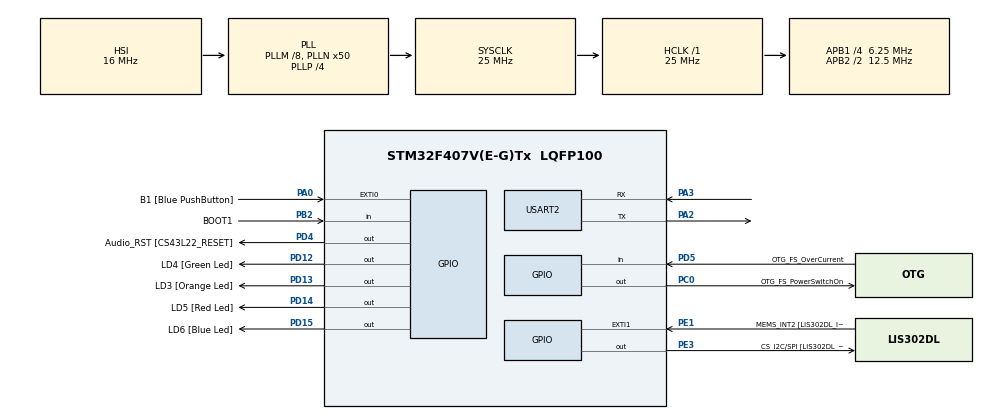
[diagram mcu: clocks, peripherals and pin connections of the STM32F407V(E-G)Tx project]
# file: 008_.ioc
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Mcu.Family=STM32F4
Mcu.Name=STM32F407V(E-G)Tx
Mcu.Package=LQFP100
NVIC.PriorityGroup=NVIC_PRIORITYGROUP_4
NVIC.TIM6_DAC_IRQn=true\:15\:0\:false\:false\:true\:false\:true\:true
NVIC.TimeBase=TIM6_DAC_IRQn
NVIC.TimeBaseIP=TIM6
NVIC.USART2_IRQn=true\:6\:0\:true\:false\:true\:true\:true\:true
PA0-WKUP.GPIO_Label=B1 [Blue PushButton]
PA0-WKUP.Signal=GPXTI0
PA10.GPIO_Label=OTG_FS_ID
PA10.GPIO_Mode=GPIO_MODE_AF_PP
PA10.GPIO_PuPd=GPIO_NOPULL
PA10.GPIO_Speed=GPIO_SPEED_FREQ_LOW
PA10.Signal=USB_OTG_FS_ID
PA11.GPIO_Label=OTG_FS_DM
PA11.GPIO_Mode=GPIO_MODE_AF_PP
PA11.GPIO_PuPd=GPIO_NOPULL
PA11.GPIO_Speed=GPIO_SPEED_FREQ_LOW
PA11.Signal=USB_OTG_FS_DM
PA12.GPIO_Label=OTG_FS_DP
PA12.GPIO_Mode=GPIO_MODE_AF_PP
PA12.GPIO_PuPd=GPIO_NOPULL
PA12.GPIO_Speed=GPIO_SPEED_FREQ_LOW
PA12.Signal=USB_OTG_FS_DP
PA13.GPIO_Label=SWDIO
PA13.Signal=SYS_JTMS-SWDIO
PA14.GPIO_Label=SWCLK
PA14.Signal=SYS_JTCK-SWCLK
PA2.Mode=Asynchronous
PA2.Signal=USART2_TX
PA3.Mode=Asynchronous
PA3.Signal=USART2_RX
PA4.GPIO_Label=I2S3_WS [CS43L22_LRCK]
PA4.GPIO_Mode=GPIO_MODE_AF_PP
PA4.GPIO_PuPd=GPIO_NOPULL
PA4.GPIO_Speed=GPIO_SPEED_FREQ_LOW
PA4.Signal=I2S3_WS
PA5.GPIO_Label=SPI1_SCK [LIS302DL_SCL/SPC]
PA5.GPIO_Mode=GPIO_MODE_AF_PP
PA5.GPIO_PuPd=GPIO_NOPULL
PA5.GPIO_Speed=GPIO_SPEED_FREQ_LOW
PA5.Signal=SPI1_SCK
PA6.GPIO_Label=SPI1_MISO [LIS302DL_SDO]
PA6.GPIO_Mode=GPIO_MODE_AF_PP
PA6.GPIO_PuPd=GPIO_NOPULL
PA6.GPIO_Speed=GPIO_SPEED_FREQ_LOW
PA6.Signal=SPI1_MISO
PA7.GPIO_Label=SPI1_MOSI [LIS302DL_SDA/SDI/SDO]
PA7.GPIO_Mode=GPIO_MODE_AF_PP
PA7.GPIO_PuPd=GPIO_NOPULL
PA7.GPIO_Speed=GPIO_SPEED_FREQ_LOW
PA7.Signal=SPI1_MOSI
PA9.GPIO_Label=VBUS_FS
PA9.GPIO_Mode=GPIO_MODE_INPUT
PA9.GPIO_PuPd=GPIO_NOPULL
PA9.Signal=USB_OTG_FS_VBUS
PB10.GPIO_Label=CLK_IN [MP45DT02_CLK]
PB10.GPIO_Mode=GPIO_MODE_AF_PP
PB10.GPIO_PuPd=GPIO_NOPULL
PB10.GPIO_Speed=GPIO_SPEED_FREQ_LOW
PB10.Signal=I2S2_CK
PB2.GPIO_Label=BOOT1
PB2.GPIO_Mode=GPIO_MODE_INPUT
PB2.GPIO_PuPd=GPIO_NOPULL
PB2.Signal=GPIO_Input
PB3.GPIO_Label=SWO
PB3.Signal=SYS_JTDO-SWO
PB6.GPIO_Label=Audio_SCL [CS43L22_SCL]
PB6.GPIO_Mode=GPIO_MODE_AF_OD
PB6.GPIO_PuPd=GPIO_NOPULL
PB6.GPIO_Speed=GPIO_SPEED_FREQ_LOW
PB6.Signal=I2C1_SCL
PB9.GPIO_Label=Audio_SDA [CS43L22_SDA]
PB9.GPIO_Mode=GPIO_MODE_AF_OD
PB9.GPIO_PuPd=GPIO_NOPULL
PB9.GPIO_Speed=GPIO_SPEED_FREQ_LOW
PB9.Signal=I2C1_SDA
PC0.GPIO_Label=OTG_FS_PowerSwitchOn
PC0.GPIO_PuPd=GPIO_NOPULL
PC0.GPIO_Speed=GPIO_SPEED_FREQ_LOW
PC0.PinState=GPIO_PIN_SET
PC0.Signal=GPIO_Output
PC10.GPIO_Label=I2S3_SCK [CS43L22_SCLK]
PC10.GPIO_Mode=GPIO_MODE_AF_PP
PC10.GPIO_PuPd=GPIO_NOPULL
PC10.GPIO_Speed=GPIO_SPEED_FREQ_LOW
PC10.Signal=I2S3_CK
PC12.GPIO_Label=I2S3_SD [CS43L22_SDIN]
PC12.GPIO_Mode=GPIO_MODE_AF_PP
PC12.GPIO_PuPd=GPIO_NOPULL
PC12.GPIO_Speed=GPIO_SPEED_FREQ_LOW
PC12.Signal=I2S3_SD
PC14-OSC32_IN.GPIO_Label=PC14-OSC32_IN
PC14-OSC32_IN.Signal=RCC_OSC32_IN
PC15-OSC32_OUT.GPIO_Label=PC15-OSC32_OUT
PC15-OSC32_OUT.Signal=RCC_OSC32_OUT
PC3.GPIO_Label=PDM_OUT [MP45DT02_DOUT]
PC3.GPIO_Mode=GPIO_MODE_AF_PP
PC3.GPIO_PuPd=GPIO_NOPULL
PC3.GPIO_Speed=GPIO_SPEED_FREQ_LOW
PC3.Signal=I2S2_SD
PC7.GPIO_Label=I2S3_MCK [CS43L22_MCLK]
PC7.GPIO_Mode=GPIO_MODE_AF_PP
PC7.GPIO_PuPd=GPIO_NOPULL
PC7.GPIO_Speed=GPIO_SPEED_FREQ_LOW
PC7.Signal=I2S3_MCK
PD12.GPIO_Label=LD4 [Green Led]
PD12.GPIO_PuPd=GPIO_NOPULL
PD12.GPIO_Speed=GPIO_SPEED_FREQ_LOW
PD12.Signal=GPIO_Output
PD13.GPIO_Label=LD3 [Orange Led]
PD13.GPIO_PuPd=GPIO_NOPULL
PD13.GPIO_Speed=GPIO_SPEED_FREQ_LOW
PD13.Signal=GPIO_Output
PD14.GPIO_Label=LD5 [Red Led]
PD14.GPIO_PuPd=GPIO_NOPULL
PD14.GPIO_Speed=GPIO_SPEED_FREQ_LOW
PD14.Signal=GPIO_Output
PD15.GPIO_Label=LD6 [Blue Led]
PD15.GPIO_PuPd=GPIO_NOPULL
PD15.GPIO_Speed=GPIO_SPEED_FREQ_LOW
PD15.Signal=GPIO_Output
PD4.GPIO_Label=Audio_RST [CS43L22_RESET]
PD4.GPIO_PuPd=GPIO_NOPULL
PD4.GPIO_Speed=GPIO_SPEED_FREQ_LOW
PD4.Signal=GPIO_Output
PD5.GPIO_Label=OTG_FS_OverCurrent
PD5.GPIO_Mode=GPIO_MODE_INPUT
PD5.GPIO_PuPd=GPIO_NOPULL
PD5.Signal=GPIO_Input
PE1.GPIO_Label=MEMS_INT2 [LIS302DL_INT2]
PE1.GPIO_ModeDefaultEXTI=GPIO_MODE_EVT_RISING
PE1.GPIO_PuPd=GPIO_NOPULL
PE1.Signal=GPXTI1
PE3.GPIO_Label=CS_I2C/SPI [LIS302DL_CS_I2C/SPI]
PE3.GPIO_PuPd=GPIO_NOPULL
PE3.GPIO_Speed=GPIO_SPEED_FREQ_LOW
PE3.Signal=GPIO_Output
PH0-OSC_IN.GPIO_Label=PH0-OSC_IN
PH0-OSC_IN.Signal=RCC_OSC_IN
PH1-OSC_OUT.GPIO_Label=PH1-OSC_OUT
PH1-OSC_OUT.Signal=RCC_OSC_OUT
ProjectManager.HeapSize=0x200
ProjectManager.StackSize=0x400
ProjectManager.TargetToolchain=STM32CubeIDE
RCC.48MHZClocksFreq_Value=14285714.285714285
RCC.AHBFreq_Value=25000000
RCC.APB1CLKDivider=RCC_HCLK_DIV4
RCC.APB1Freq_Value=6250000
RCC.APB1TimFreq_Value=12500000
RCC.APB2CLKDivider=RCC_HCLK_DIV2
RCC.APB2Freq_Value=12500000
RCC.APB2TimFreq_Value=25000000
RCC.CortexFreq_Value=25000000
RCC.HCLKFreq_Value=25000000
RCC.HSE_VALUE=8000000
RCC.HSI_VALUE=16000000
RCC.LSE_VALUE=32768
RCC.PLLM=8
RCC.PLLN=50
RCC.PLLP=RCC_PLLP_DIV4
RCC.PLLQ=7
RCC.SYSCLKFreq_VALUE=25000000
RCC.SYSCLKSource=RCC_SYSCLKSOURCE_PLLCLK
RCC.VCOOutputFreq_Value=100000000
RTC.HourFormat=RTC_HOURFORMAT_12
USART2.VirtualMode=VM_ASYNC
VP_RTC_VS_RTC_Activate.Mode=RTC_Enabled
VP_SYS_VS_tim6.Mode=TIM6
board=STM32F407G-DISC1

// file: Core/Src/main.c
/* USER CODE BEGIN Header */
/**
  ******************************************************************************
  * @file           : main.c
  * @brief          : Main program body
  ******************************************************************************
  * @attention
  *
  * Copyright (c) 2025 STMicroelectronics.
  * All rights reserved.
  *
  * This software is licensed under terms that can be found in the LICENSE file
  * in the root directory of this software component.
  * If no LICENSE file comes with this software, it is provided AS-IS.
  *
  ******************************************************************************
  */
/* USER CODE END Header */
#include<main.h>

/* USER CODE BEGIN Includes */
#include"FreeRTOS.h"
#include<stdio.h>

#include"Queue.h"
#include<stdint.h>
#include"Task.h"
#include"timers.h"
/* USER CODE END Includes */

/* USER CODE BEGIN PD */
TimerHandle_t Timer_handle[4];

/* USER CODE END PD */

void SystemClock_Config(void);
static void MX_GPIO_Init(void);
static void MX_RTC_Init(void);
static void MX_USART2_UART_Init(void);

/* USER CODE BEGIN 0 */
 volatile uint8_t user_data;
  QueueHandle_t q_data;
  QueueHandle_t q_print;
RTC_HandleTypeDef hrtc;
 UART_HandleTypeDef huart2;
 TaskHandle_t MENUHANDLE;
  TaskHandle_t LEDHANDLE;
  TaskHandle_t RTCHANDLE;
  TaskHandle_t PRINTHANDLE;
  TaskHandle_t COMMANDHANDLE;

/* USER CODE END 0 */

int main(void)
{

  /* MCU Configuration--------------------------------------------------------*/

  /* Reset of all peripherals, Initializes the Flash interface and the Systick. */
  HAL_Init();

  /* Configure the system clock */
  SystemClock_Config();

  /* Initialize all configured peripherals */
  MX_GPIO_Init();
  MX_RTC_Init();
  MX_USART2_UART_Init();
  /* USER CODE BEGIN 2 */
  BaseType_t status;

  for(int i=0;i<4;i++){
	  Timer_handle[i]=xTimerCreate("soft_timer", pdMS_TO_TICKS(500), pdTRUE, (void*)i, led_effect_callback);
  }

  status=xTaskCreate(menuHANDLER,"Menu", 200,NULL, 2, &MENUHANDLE);
  configASSERT(status==pdPASS);
  status=xTaskCreate(ledHANDLER,"Led", 200,NULL, 2, &LEDHANDLE);
   configASSERT(status==pdPASS);
   status=xTaskCreate(rtcHANDLER,"Rtc", 200,NULL, 2, &RTCHANDLE);
    configASSERT(status==pdPASS);
    status=xTaskCreate(printHANDLER,"print", 200,NULL, 2, &PRINTHANDLE);
     configASSERT(status==pdPASS);
     status=xTaskCreate(commandHANDLER,"command", 200,NULL, 2, &COMMANDHANDLE);
      configASSERT(status==pdPASS);
      q_data=xQueueCreate(10,sizeof(char));
      configASSERT(q_data!=NULL);
	  q_print=xQueueCreate(10,sizeof(size_t));
      configASSERT(q_print!=NULL);
      HAL_UART_Receive_IT(&huart2,(void*) &user_data, 1);
      vTaskStartScheduler();
  /* USER CODE END 2 */

  /* Infinite loop */
  while (1)
  {

  }
}

void SystemClock_Config(void)
{
  RCC_OscInitTypeDef RCC_OscInitStruct = {0};
  RCC_ClkInitTypeDef RCC_ClkInitStruct = {0};

  /** Configure the main internal regulator output voltage
  */
  __HAL_RCC_PWR_CLK_ENABLE();
  __HAL_PWR_VOLTAGESCALING_CONFIG(PWR_REGULATOR_VOLTAGE_SCALE1);

  /** Initializes the RCC Oscillators according to the specified parameters
  * in the RCC_OscInitTypeDef structure.
  */
  RCC_OscInitStruct.OscillatorType = RCC_OSCILLATORTYPE_HSI|RCC_OSCILLATORTYPE_LSI;
  RCC_OscInitStruct.HSIState = RCC_HSI_ON;
  RCC_OscInitStruct.HSICalibrationValue = RCC_HSICALIBRATION_DEFAULT;
  RCC_OscInitStruct.LSIState = RCC_LSI_ON;
  RCC_OscInitStruct.PLL.PLLState = RCC_PLL_ON;
  RCC_OscInitStruct.PLL.PLLSource = RCC_PLLSOURCE_HSI;
  RCC_OscInitStruct.PLL.PLLM = 8;
  RCC_OscInitStruct.PLL.PLLN = 50;
  RCC_OscInitStruct.PLL.PLLP = RCC_PLLP_DIV4;
  RCC_OscInitStruct.PLL.PLLQ = 7;
  if (HAL_RCC_OscConfig(&RCC_OscInitStruct) != HAL_OK)
  {
    Error_Handler();
  }

  /** Initializes the CPU, AHB and APB buses clocks
  */
  RCC_ClkInitStruct.ClockType = RCC_CLOCKTYPE_HCLK|RCC_CLOCKTYPE_SYSCLK
                              |RCC_CLOCKTYPE_PCLK1|RCC_CLOCKTYPE_PCLK2;
  RCC_ClkInitStruct.SYSCLKSource = RCC_SYSCLKSOURCE_PLLCLK;
  RCC_ClkInitStruct.AHBCLKDivider = RCC_SYSCLK_DIV1;
  RCC_ClkInitStruct.APB1CLKDivider = RCC_HCLK_DIV4;
  RCC_ClkInitStruct.APB2CLKDivider = RCC_HCLK_DIV2;

  if (HAL_RCC_ClockConfig(&RCC_ClkInitStruct, FLASH_LATENCY_0) != HAL_OK)
  {
    Error_Handler();
  }
}

static void MX_RTC_Init(void)
{

  /** Initialize RTC Only
  */
  hrtc.Instance = RTC;
  hrtc.Init.HourFormat = RTC_HOURFORMAT_12;
  hrtc.Init.AsynchPrediv = 127;
  hrtc.Init.SynchPrediv = 255;
  hrtc.Init.OutPut = RTC_OUTPUT_DISABLE;
  hrtc.Init.OutPutPolarity = RTC_OUTPUT_POLARITY_HIGH;
  hrtc.Init.OutPutType = RTC_OUTPUT_TYPE_OPENDRAIN;
  if (HAL_RTC_Init(&hrtc) != HAL_OK)
  {
    Error_Handler();
  }

}

static void MX_USART2_UART_Init(void)
{

  huart2.Instance = USART2;
  huart2.Init.BaudRate = 115200;
  huart2.Init.WordLength = UART_WORDLENGTH_8B;
  huart2.Init.StopBits = UART_STOPBITS_1;
  huart2.Init.Parity = UART_PARITY_NONE;
  huart2.Init.Mode = UART_MODE_TX_RX;
  huart2.Init.HwFlowCtl = UART_HWCONTROL_NONE;
  huart2.Init.OverSampling = UART_OVERSAMPLING_16;
  if (HAL_UART_Init(&huart2) != HAL_OK)
  {
    Error_Handler();
  }

}

static void MX_GPIO_Init(void)
{
  GPIO_InitTypeDef GPIO_InitStruct = {0};

  /* GPIO Ports Clock Enable */
  __HAL_RCC_GPIOE_CLK_ENABLE();
  __HAL_RCC_GPIOC_CLK_ENABLE();
  __HAL_RCC_GPIOH_CLK_ENABLE();
  __HAL_RCC_GPIOA_CLK_ENABLE();
  __HAL_RCC_GPIOB_CLK_ENABLE();
  __HAL_RCC_GPIOD_CLK_ENABLE();

  /*Configure GPIO pin Output Level */
  HAL_GPIO_WritePin(CS_I2C_SPI_GPIO_Port, CS_I2C_SPI_Pin, GPIO_PIN_RESET);

  /*Configure GPIO pin Output Level */
  HAL_GPIO_WritePin(OTG_FS_PowerSwitchOn_GPIO_Port, OTG_FS_PowerSwitchOn_Pin, GPIO_PIN_SET);

  /*Configure GPIO pin Output Level */
  HAL_GPIO_WritePin(GPIOD, LD4_Pin|LD3_Pin|LD5_Pin|LD6_Pin
                          |Audio_RST_Pin, GPIO_PIN_RESET);

  /*Configure GPIO pin : CS_I2C_SPI_Pin */
  GPIO_InitStruct.Pin = CS_I2C_SPI_Pin;
  GPIO_InitStruct.Mode = GPIO_MODE_OUTPUT_PP;
  GPIO_InitStruct.Pull = GPIO_NOPULL;
  GPIO_InitStruct.Speed = GPIO_SPEED_FREQ_LOW;
  HAL_GPIO_Init(CS_I2C_SPI_GPIO_Port, &GPIO_InitStruct);

  /*Configure GPIO pin : OTG_FS_PowerSwitchOn_Pin */
  GPIO_InitStruct.Pin = OTG_FS_PowerSwitchOn_Pin;
  GPIO_InitStruct.Mode = GPIO_MODE_OUTPUT_PP;
  GPIO_InitStruct.Pull = GPIO_NOPULL;
  GPIO_InitStruct.Speed = GPIO_SPEED_FREQ_LOW;
  HAL_GPIO_Init(OTG_FS_PowerSwitchOn_GPIO_Port, &GPIO_InitStruct);

  /*Configure GPIO pin : PDM_OUT_Pin */
  GPIO_InitStruct.Pin = PDM_OUT_Pin;
  GPIO_InitStruct.Mode = GPIO_MODE_AF_PP;
  GPIO_InitStruct.Pull = GPIO_NOPULL;
  GPIO_InitStruct.Speed = GPIO_SPEED_FREQ_LOW;
  GPIO_InitStruct.Alternate = GPIO_AF5_SPI2;
  HAL_GPIO_Init(PDM_OUT_GPIO_Port, &GPIO_InitStruct);

  /*Configure GPIO pin : B1_Pin */
  GPIO_InitStruct.Pin = B1_Pin;
  GPIO_InitStruct.Mode = GPIO_MODE_IT_RISING;
  GPIO_InitStruct.Pull = GPIO_NOPULL;
  HAL_GPIO_Init(B1_GPIO_Port, &GPIO_InitStruct);

  /*Configure GPIO pin : I2S3_WS_Pin */
  GPIO_InitStruct.Pin = I2S3_WS_Pin;
  GPIO_InitStruct.Mode = GPIO_MODE_AF_PP;
  GPIO_InitStruct.Pull = GPIO_NOPULL;
  GPIO_InitStruct.Speed = GPIO_SPEED_FREQ_LOW;
  GPIO_InitStruct.Alternate = GPIO_AF6_SPI3;
  HAL_GPIO_Init(I2S3_WS_GPIO_Port, &GPIO_InitStruct);

  /*Configure GPIO pins : SPI1_SCK_Pin SPI1_MISO_Pin SPI1_MOSI_Pin */
  GPIO_InitStruct.Pin = SPI1_SCK_Pin|SPI1_MISO_Pin|SPI1_MOSI_Pin;
  GPIO_InitStruct.Mode = GPIO_MODE_AF_PP;
  GPIO_InitStruct.Pull = GPIO_NOPULL;
  GPIO_InitStruct.Speed = GPIO_SPEED_FREQ_LOW;
  GPIO_InitStruct.Alternate = GPIO_AF5_SPI1;
  HAL_GPIO_Init(GPIOA, &GPIO_InitStruct);

  /*Configure GPIO pin : BOOT1_Pin */
  GPIO_InitStruct.Pin = BOOT1_Pin;
  GPIO_InitStruct.Mode = GPIO_MODE_INPUT;
  GPIO_InitStruct.Pull = GPIO_NOPULL;
  HAL_GPIO_Init(BOOT1_GPIO_Port, &GPIO_InitStruct);

  /*Configure GPIO pin : CLK_IN_Pin */
  GPIO_InitStruct.Pin = CLK_IN_Pin;
  GPIO_InitStruct.Mode = GPIO_MODE_AF_PP;
  GPIO_InitStruct.Pull = GPIO_NOPULL;
  GPIO_InitStruct.Speed = GPIO_SPEED_FREQ_LOW;
  GPIO_InitStruct.Alternate = GPIO_AF5_SPI2;
  HAL_GPIO_Init(CLK_IN_GPIO_Port, &GPIO_InitStruct);

  /*Configure GPIO pins : LD4_Pin LD3_Pin LD5_Pin LD6_Pin
                           Audio_RST_Pin */
  GPIO_InitStruct.Pin = LD4_Pin|LD3_Pin|LD5_Pin|LD6_Pin
                          |Audio_RST_Pin;
  GPIO_InitStruct.Mode = GPIO_MODE_OUTPUT_PP;
  GPIO_InitStruct.Pull = GPIO_NOPULL;
  GPIO_InitStruct.Speed = GPIO_SPEED_FREQ_LOW;
  HAL_GPIO_Init(GPIOD, &GPIO_InitStruct);

  /*Configure GPIO pins : I2S3_MCK_Pin I2S3_SCK_Pin I2S3_SD_Pin */
  GPIO_InitStruct.Pin = I2S3_MCK_Pin|I2S3_SCK_Pin|I2S3_SD_Pin;
  GPIO_InitStruct.Mode = GPIO_MODE_AF_PP;
  GPIO_InitStruct.Pull = GPIO_NOPULL;
  GPIO_InitStruct.Speed = GPIO_SPEED_FREQ_LOW;
  GPIO_InitStruct.Alternate = GPIO_AF6_SPI3;
  HAL_GPIO_Init(GPIOC, &GPIO_InitStruct);

  /*Configure GPIO pin : VBUS_FS_Pin */
  GPIO_InitStruct.Pin = VBUS_FS_Pin;
  GPIO_InitStruct.Mode = GPIO_MODE_INPUT;
  GPIO_InitStruct.Pull = GPIO_NOPULL;
  HAL_GPIO_Init(VBUS_FS_GPIO_Port, &GPIO_InitStruct);

  /*Configure GPIO pins : OTG_FS_ID_Pin OTG_FS_DM_Pin OTG_FS_DP_Pin */
  GPIO_InitStruct.Pin = OTG_FS_ID_Pin|OTG_FS_DM_Pin|OTG_FS_DP_Pin;
  GPIO_InitStruct.Mode = GPIO_MODE_AF_PP;
  GPIO_InitStruct.Pull = GPIO_NOPULL;
  GPIO_InitStruct.Speed = GPIO_SPEED_FREQ_LOW;
  GPIO_InitStruct.Alternate = GPIO_AF10_OTG_FS;
  HAL_GPIO_Init(GPIOA, &GPIO_InitStruct);

  /*Configure GPIO pin : OTG_FS_OverCurrent_Pin */
  GPIO_InitStruct.Pin = OTG_FS_OverCurrent_Pin;
  GPIO_InitStruct.Mode = GPIO_MODE_INPUT;
  GPIO_InitStruct.Pull = GPIO_NOPULL;
  HAL_GPIO_Init(OTG_FS_OverCurrent_GPIO_Port, &GPIO_InitStruct);

  /*Configure GPIO pins : Audio_SCL_Pin Audio_SDA_Pin */
  GPIO_InitStruct.Pin = Audio_SCL_Pin|Audio_SDA_Pin;
  GPIO_InitStruct.Mode = GPIO_MODE_AF_OD;
  GPIO_InitStruct.Pull = GPIO_NOPULL;
  GPIO_InitStruct.Speed = GPIO_SPEED_FREQ_LOW;
  GPIO_InitStruct.Alternate = GPIO_AF4_I2C1;
  HAL_GPIO_Init(GPIOB, &GPIO_InitStruct);

  /*Configure GPIO pin : MEMS_INT2_Pin */
  GPIO_InitStruct.Pin = MEMS_INT2_Pin;
  GPIO_InitStruct.Mode = GPIO_MODE_EVT_RISING;
  GPIO_InitStruct.Pull = GPIO_NOPULL;
  HAL_GPIO_Init(MEMS_INT2_GPIO_Port, &GPIO_InitStruct);

}

/* USER CODE BEGIN 4 */
void HAL_UART_RxCpltCallback(UART_HandleTypeDef *huart)
{
 //   BaseType_t status;

	if(xQueueIsQueueFullFromISR(q_data)==pdTRUE)
	{
		/*Queue is not full */
		xQueueSendFromISR(q_data,(void*)&user_data,NULL);

	}else{

		if(user_data =='\n')
		{

			//status=xQueueSendToBackFromISR(q_data,'/n',NULL);
			xQueueOverwriteFromISR( q_data , (void*)&user_data , NULL);
            xTaskNotifyFromISR(COMMANDHANDLE,0,eNoAction,NULL);

		}
	}

	HAL_UART_Receive_IT(&huart2, (uint8_t*)&user_data, 1);

}

/* USER CODE END 4 */

void HAL_TIM_PeriodElapsedCallback(TIM_HandleTypeDef *htim)
{
  if (htim->Instance == TIM6)
  {
    HAL_IncTick();
  }
}

void Error_Handler(void)
{
  __disable_irq();
  while (1)
  {
  }
}
